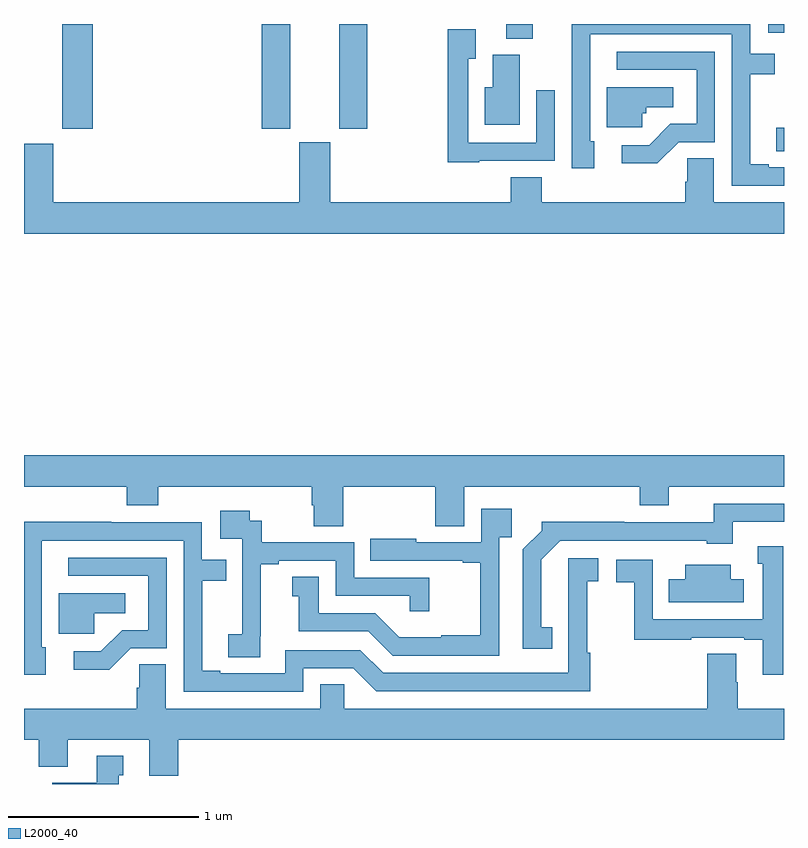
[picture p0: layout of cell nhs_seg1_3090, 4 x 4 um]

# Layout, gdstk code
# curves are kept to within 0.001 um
import gdstk
lib = gdstk.Library(unit=1e-6, precision=1e-09)
def R(c, l, rs):  # rectangles x0, y0, x1, y1
    for r in rs: c.add(gdstk.rectangle(r[:2], r[2:], *l))
def P(c, l, *ps):  # polygons
    for p in ps: c.add(gdstk.Polygon(p, *l))
L2000_40 = (2000, 40)

nhs_seg1_3090 = lib.new_cell('nhs_seg1_3090')
R(nhs_seg1_3090, L2000_40, [(282.96,521.53,283,521.652), (279.202,521.649,279.362,522.199), (280.25,521.649,280.402,522.199), (280.658,521.649,280.806,522.199), (281.537,522.121,281.677,522.199), (282.918,522.153,283,522.199)])
P(nhs_seg1_3090, L2000_40, [(283,521.445),(282.919,521.445),(282.919,521.46),(282.823,521.46),(282.823,521.934),(282.95,521.934),(282.95,522.042),(282.822,522.042),(282.822,522.199),(281.882,522.199),(281.882,521.938),(281.883,521.938),(281.883,521.439),(282.001,521.439),(282.001,521.583),(281.979,521.583),(281.979,522.144),(282.726,522.144),(282.726,521.349),(283,521.349)],
  [(281.397,521.478),(281.793,521.478),(281.793,521.851),(281.697,521.851),(281.697,521.574),(281.337,521.574),(281.337,522.016),(281.377,522.016),(281.377,522.172),(281.229,522.172),(281.229,521.471),(281.397,521.471)],
  [(282.447,521.577),(282.636,521.577),(282.636,522.054),(282.12,522.054),(282.12,521.958),(282.54,521.958),(282.54,521.673),(282.402,521.673),(282.291,521.562),(282.147,521.562),(282.147,521.465),(282.334,521.465)],
  [(281.608,522.036),(281.468,522.036),(281.468,521.866),(281.426,521.866),(281.426,521.669),(281.608,521.669)],
  [(282.255,521.73),(282.274,521.73),(282.274,521.762),(282.418,521.762),(282.418,521.866),(282.068,521.866),(282.068,521.655),(282.255,521.655)],
  [(283,521.26),(282.631,521.26),(282.631,521.492),(282.492,521.492),(282.492,521.369),(282.479,521.369),(282.479,521.26),(281.726,521.26),(281.726,521.393),(281.561,521.393),(281.561,521.26),(280.612,521.26),(280.612,521.577),(280.448,521.577),(280.448,521.26),(279.154,521.26),(279.154,521.569),(279,521.569),(279,521.096),(283,521.096)],
  [(280.679,519.764),(281.165,519.764),(281.165,519.556),(281.317,519.556),(281.317,519.764),(282.242,519.764),(282.242,519.665),(282.394,519.665),(282.394,519.764),(283,519.764),(283,519.928),(279,519.928),(279,519.764),(279.542,519.764),(279.542,519.665),(279.707,519.665),(279.707,519.764),(280.514,519.764),(280.514,519.666),(280.526,519.666),(280.526,519.556),(280.679,519.556)],
  [(281.78,519.023),(281.722,519.023),(281.722,519.379),(281.823,519.48),(282.594,519.48),(282.594,519.464),(282.73,519.464),(282.73,519.579),(283,519.579),(283,519.675),(282.631,519.675),(282.631,519.576),(282.158,519.576),(282.158,519.578),(281.724,519.578),(281.724,519.533),(281.625,519.434),(281.625,518.91),(281.78,518.91)],
  [(281.502,519.497),(281.567,519.497),(281.567,519.649),(281.406,519.649),(281.406,519.471),(281.065,519.471),(281.065,519.49),(280.822,519.49),(280.822,519.375),(281.309,519.375),(281.309,519.363),(281.401,519.363),(281.401,518.983),(281.195,518.983),(281.195,518.971),(280.976,518.971),(280.848,519.099),(280.552,519.099),(280.552,519.29),(280.412,519.29),(280.412,519.187),(280.445,519.187),(280.445,519.003),(280.812,519.003),(280.941,518.874),(281.502,518.874)],
  [(280.244,518.977),(280.246,518.977),(280.246,519.355),(280.342,519.355),(280.342,519.375),(280.641,519.375),(280.641,519.189),(281.031,519.189),(281.031,519.108),(281.132,519.108),(281.132,519.285),(280.737,519.285),(280.737,519.471),(280.25,519.471),(280.25,519.585),(280.188,519.585),(280.188,519.637),(280.032,519.637),(280.032,519.489),(280.149,519.489),(280.149,519.185),(280.148,519.185),(280.148,518.988),(280.074,518.988),(280.074,518.866),(280.244,518.866)],
  [(280.47,518.808),(280.734,518.808),(280.854,518.688),(281.981,518.688),(281.981,518.891),(281.964,518.891),(281.964,519.267),(282.022,519.267),(282.022,519.388),(281.864,519.388),(281.865,518.784),(280.89,518.784),(280.77,518.904),(280.374,518.904),(280.374,518.781),(280.033,518.781),(280.033,518.796),(279.937,518.796),(279.937,519.27),(280.064,519.27),(280.064,519.378),(279.936,519.378),(279.936,519.576),(279.458,519.576),(279.458,519.578),(279,519.578),(279,518.775),(279.115,518.775),(279.115,518.919),(279.093,518.919),(279.093,519.48),(279.84,519.48),(279.84,518.685),(280.47,518.685)],
  [(282.997,519.451),(282.863,519.451),(282.863,519.357),(282.888,519.357),(282.888,519.066),(282.309,519.066),(282.309,519.378),(282.117,519.378),(282.117,519.262),(282.211,519.262),(282.211,518.958),(282.512,518.958),(282.512,518.97),(282.791,518.97),(282.791,518.958),(282.887,518.958),(282.887,518.775),(282.997,518.775)],
  [(279.561,518.913),(279.75,518.913),(279.75,519.39),(279.234,519.39),(279.234,519.294),(279.654,519.294),(279.654,519.009),(279.516,519.009),(279.405,518.898),(279.261,518.898),(279.261,518.801),(279.448,518.801)],
  [(282.787,519.277),(282.721,519.277),(282.721,519.352),(282.479,519.352),(282.479,519.277),(282.394,519.277),(282.394,519.155),(282.787,519.155)],
  [(279.369,519.098),(279.532,519.098),(279.532,519.202),(279.182,519.202),(279.182,518.991),(279.369,518.991)],
  [(279.812,518.432),(283,518.432),(283,518.596),(282.756,518.596),(282.756,518.735),(282.748,518.735),(282.748,518.885),(282.596,518.885),(282.596,518.596),(280.686,518.596),(280.686,518.723),(280.559,518.723),(280.559,518.596),(279.745,518.596),(279.745,518.828),(279.606,518.828),(279.606,518.705),(279.593,518.705),(279.593,518.596),(279,518.596),(279,518.432),(279.077,518.432),(279.077,518.291),(279.229,518.291),(279.229,518.432),(279.659,518.432),(279.659,518.243),(279.812,518.243)],
  [(279.499,518.244),(279.523,518.244),(279.523,518.347),(279.383,518.347),(279.383,518.206),(279.148,518.206),(279.148,518.199),(279.499,518.199)])

lib.write_gds('nhs_seg1_3090.gds')
